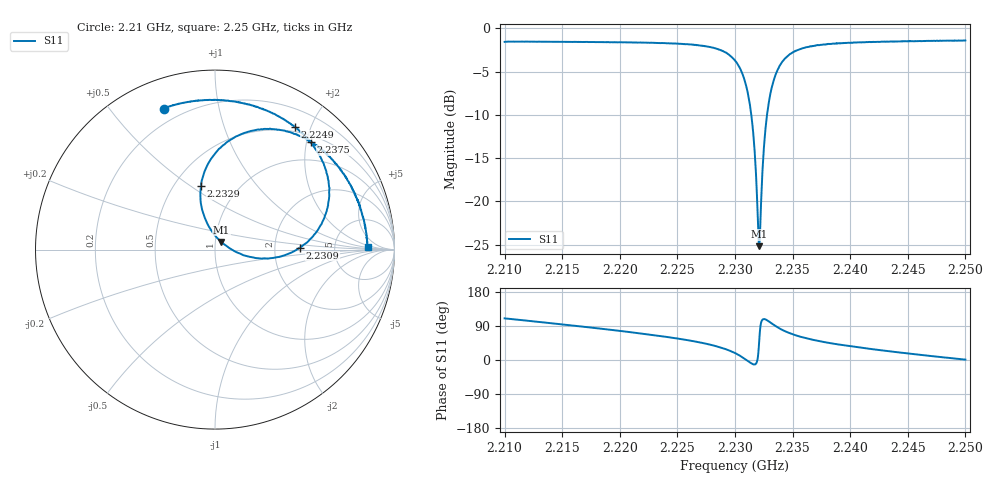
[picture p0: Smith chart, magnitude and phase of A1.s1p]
!Agilent N9918A: A.07.57
!Date: Thursday, 18 December 2014 15:29:27
!TimeZone: (GMT+08:00) Kuala Lumpur, Singapore!Model: N9918A
!Serial: MY53103598
!GPS Latitude:
!GPS Longitude:
!GPS TimeStamp: 0001-01-01 00:00:00Z
!GPS Seconds Since Last Read: 0
!CHECKSUM:0546070579
!Correction: S11(Rdy)
!S1P File: Measurement: S11:
# Hz S DB R 50
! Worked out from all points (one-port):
!   1000 points, 2.21 GHz to 2.25 GHz, reference 50 ohm
!   lowest |S11| = -25.2 dB at 2.2321 GHz (marker M1), VSWR 1.12, Z = 53.4 + j4.6 ohm
!   |S11| at or under -10 dB: 2.231413 GHz to 2.23278 GHz (1.367 MHz wide, 0.0612 % of centre)
!   S11 on the Smith chart (normalised r, x): 2.21 GHz: 0.13, +0.69; 2.2249 GHz: 0.43, +1.76; 2.2309 GHz: 2.79, +0.08; 2.2329 GHz: 0.67, +0.55; 2.2375 GHz: 0.61, +2.08; 2.25 GHz: 12, +1
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2.21e9  -1.57 109.9
2.215005e9  -1.57 93.8
2.22001e9  -1.63 76.7
2.224935e9  -1.76 57.0
2.225015e9  -1.78 56.6
2.227938e9  -2.21 39.8
2.229059e9  -2.71 29.8
2.23002e9  -3.76 17.9
2.230501e9  -4.81 10.0
2.230941e9  -6.50 1.3
2.231261e9  -8.59 -5.7
2.231502e9  -11.02 -9.9
2.231702e9  -14.12 -11.8
2.231982e9  -21.98 6.5
2.232102e9  -25.16 51.0
2.232222e9  -21.65 91.9
2.232462e9  -14.72 107.7
2.232583e9  -12.57 107.9
2.232903e9  -8.82 102.5
2.233303e9  -6.26 94.1
2.233824e9  -4.48 84.2
2.234384e9  -3.44 75.5
2.235025e9  -2.77 67.6
2.236226e9  -2.19 57.0
2.237548e9  -1.90 48.4
2.24003e9  -1.68 36.3
2.245035e9  -1.52 17.3
2.25e9  -1.41 1.0
